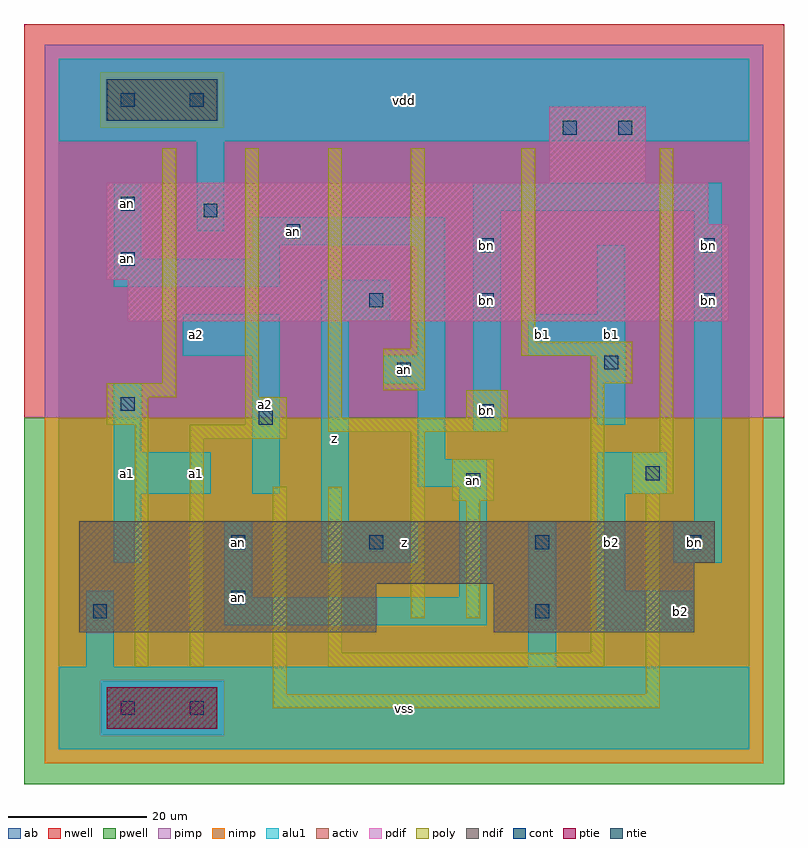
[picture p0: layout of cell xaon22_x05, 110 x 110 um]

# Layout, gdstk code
import gdstk
lib = gdstk.Library(unit=1e-6, precision=1e-09)
def R(c, l, rs):  # rectangles x0, y0, x1, y1
    for r in rs: c.add(gdstk.rectangle(r[:2], r[2:], *l))
ndif = (3, 0)
pdif = (4, 0)
ntie = (5, 0)
ptie = (6, 0)
cont = (25, 0)
pwell = (41, 0)
nwell = (42, 0)
activ = (43, 0)
pimp = (44, 0)
nimp = (45, 0)
poly = (46, 0)
alu1 = (49, 0)
ab = (63, 0)

xaon22_x05 = lib.new_cell('xaon22_x05')
R(xaon22_x05, ndif, [(3,17,46,24), (63,17,92,24), (3,24,92,27), (3,27,95,33)])
R(xaon22_x05, pdif, [(10,62,97,68), (7,68,97,76), (7,76,94,82), (71,82,85,93)])
R(xaon22_x05, ntie, [(7,91,23,97)])
R(xaon22_x05, ptie, [(7,3,23,9)])
R(xaon22_x05, cont, [(9,5,11,7), (19,5,21,7), (5,19,7,21), (69,19,71,21), (25,21,27,23), (25,29,27,31), (45,29,47,31), (69,29,71,31), (91,29,93,31), (59,38,61,40), (85,39,87,41), (29,47,31,49), (61,48,63,50), (9,49,11,51), (49,54,51,56), (79,55,81,57), (45,64,47,66), (61,64,63,66), (93,64,95,66), (9,70,11,72), (61,72,63,74), (93,72,95,74), (33,74,35,76), (21,77,23,79), (9,78,11,80), (73,89,75,91), (81,89,83,91), (9,93,11,95), (19,93,21,95)])
R(xaon22_x05, pwell, [(-5,-5,105,48)])
R(xaon22_x05, nwell, [(-5,48,105,105)])
R(xaon22_x05, activ, [(7,3,23,9), (3,17,46,24), (63,17,92,24), (3,24,92,27), (3,27,95,33), (10,62,97,68), (7,68,97,76), (7,76,94,82), (71,82,85,93), (7,91,23,97)])
R(xaon22_x05, pimp, [(6,2,24,10), (-2,48,102,90), (-2,90,6,98), (24,90,102,98), (-2,98,102,102)])
R(xaon22_x05, nimp, [(-2,-2,102,2), (-2,2,6,10), (24,2,102,10), (-2,10,102,48), (6,90,24,98)])
R(xaon22_x05, poly, [(31,6,87,8), (31,8,33,38), (85,8,87,37), (11,12,13,47), (19,12,21,45), (39,12,79,14), (39,14,41,38), (77,14,79,53), (51,19,53,46), (59,19,61,36), (57,36,63,42), (83,37,89,43), (87,43,89,87), (19,45,33,47), (39,46,65,48), (7,47,13,51), (27,47,33,51), (39,48,41,87), (59,48,65,52), (7,51,17,53), (27,51,29,87), (47,52,53,58), (15,53,17,87), (77,53,83,57), (67,57,83,59), (51,58,53,87), (67,59,69,87)])
R(xaon22_x05, alu1, [(0,0,100,12), (4,12,8,23), (68,12,72,33), (78,17,92,23), (24,18,62,22), (24,22,28,33), (58,22,62,38), (78,23,82,37), (8,27,12,37), (38,27,52,33), (89,27,96,33), (38,33,42,62), (92,33,96,78), (8,37,22,43), (28,37,32,57), (78,37,88,43), (52,38,62,42), (52,42,56,53), (8,43,12,53), (60,46,64,78), (78,47,82,57), (47,53,56,57), (18,57,32,63), (52,57,56,73), (68,57,82,63), (38,62,48,68), (78,63,82,73), (8,67,32,71), (8,71,12,82), (28,71,32,73), (28,73,56,77), (20,75,24,88), (60,78,96,82), (0,88,100,100)])
R(xaon22_x05, ab, [(0,0,100,100)])
xaon22_x05.add(gdstk.Label('an', (10,71), layer=49, texttype=0))
xaon22_x05.add(gdstk.Label('an', (10,79), layer=49, texttype=0))
xaon22_x05.add(gdstk.Label('an', (26,22), layer=49, texttype=0))
xaon22_x05.add(gdstk.Label('an', (26,30), layer=49, texttype=0))
xaon22_x05.add(gdstk.Label('an', (34,75), layer=49, texttype=0))
xaon22_x05.add(gdstk.Label('an', (60,39), layer=49, texttype=0))
xaon22_x05.add(gdstk.Label('bn', (62,49), layer=49, texttype=0))
xaon22_x05.add(gdstk.Label('an', (50,55), layer=49, texttype=0))
xaon22_x05.add(gdstk.Label('bn', (62,65), layer=49, texttype=0))
xaon22_x05.add(gdstk.Label('bn', (62,73), layer=49, texttype=0))
xaon22_x05.add(gdstk.Label('bn', (92,30), layer=49, texttype=0))
xaon22_x05.add(gdstk.Label('bn', (94,65), layer=49, texttype=0))
xaon22_x05.add(gdstk.Label('bn', (94,73), layer=49, texttype=0))
xaon22_x05.add(gdstk.Label('a1', (20,40), layer=49, texttype=0))
xaon22_x05.add(gdstk.Label('a1', (10,40), layer=49, texttype=0))
xaon22_x05.add(gdstk.Label('a2', (20,60), layer=49, texttype=0))
xaon22_x05.add(gdstk.Label('z', (40,45), layer=49, texttype=0))
xaon22_x05.add(gdstk.Label('a2', (30,50), layer=49, texttype=0))
xaon22_x05.add(gdstk.Label('vss', (50,6), layer=49, texttype=0))
xaon22_x05.add(gdstk.Label('z', (50,30), layer=49, texttype=0))
xaon22_x05.add(gdstk.Label('b1', (70,60), layer=49, texttype=0))
xaon22_x05.add(gdstk.Label('vdd', (50,94), layer=49, texttype=0))
xaon22_x05.add(gdstk.Label('b2', (90,20), layer=49, texttype=0))
xaon22_x05.add(gdstk.Label('b2', (80,30), layer=49, texttype=0))
xaon22_x05.add(gdstk.Label('b1', (80,60), layer=49, texttype=0))

lib.write_gds('xaon22_x05.gds')
